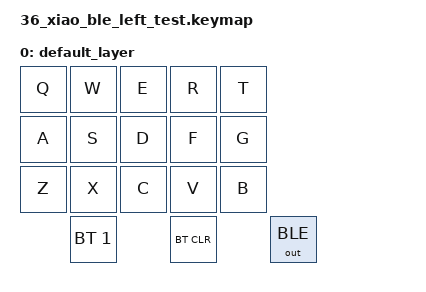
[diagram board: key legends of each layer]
#include <behaviors.dtsi>
#include <dt-bindings/zmk/keys.h>
#include <dt-bindings/zmk/bt.h>
#include <dt-bindings/zmk/outputs.h>

/ {
        keymap {
                compatible = "zmk,keymap";

                default_layer {
                        bindings = <
   &kp Q &kp W &kp E &kp R &kp T   
   &kp A &kp S &kp D &kp F &kp G   
   &kp Z &kp X &kp C &kp V &kp B   
        &bt BT_SEL 1 &bt BT_CLR &out OUT_BLE
                        >;
                };
        };
};

